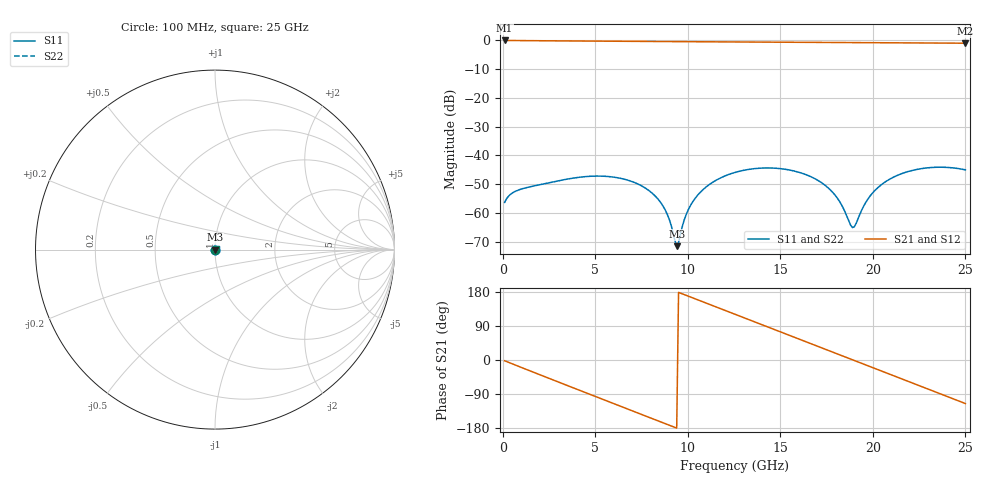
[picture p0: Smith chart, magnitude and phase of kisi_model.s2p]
! kisi T_ts6_ms_10: fast channel model (formula impedances, via model), up to 25 GHz
# Hz S RI R 50
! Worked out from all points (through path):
!   250 points, 100 MHz to 25 GHz, reference 50 ohm
!   highest |S21| = -0.02 dB at 100 MHz (marker M1); lowest = -1.0 dB at 25 GHz (marker M2)
!   group delay of S21, straight-line fit = 52.7 ps
!   lowest |S11| = -71.5 dB at 9.4 GHz (marker M3), VSWR 1.00, Z = 50 + j0.00872 ohm
!   |S11| at or under -10 dB: start of sweep to end of sweep
!   |S22| runs from -71.5 to -44.1 dB; largest |S21 - S12| = 0
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1e8  0.00149 0.00035  0.9973 -0.0352  0.9973 -0.0352  0.00149 0.00035
7e8  0.00226 0.000817  0.9652 -0.2367  0.9652 -0.2367  0.00226 0.000817
2.4e9  0.00311 0.00111  0.6772 -0.7142  0.6772 -0.7142  0.00311 0.00111
4.3e9  0.00418 0.000727  0.1217 -0.9672  0.1217 -0.9672  0.00418 0.000727
6.2e9  0.00401 -0.000881  -0.4682 -0.845  -0.4682 -0.845  0.00401 -0.000881
7.5e9  0.00257 -0.00149  -0.7737 -0.5689  -0.7737 -0.5689  0.00257 -0.00149
8.4e9  0.00131 -0.00113  -0.903 -0.3154  -0.903 -0.3154  0.00131 -0.00113
8.9e9  0.000703 -0.000615  -0.9405 -0.162  -0.9405 -0.162  0.000703 -0.000615
9.4e9  0.000251 8.72e-05  -0.9523 -0.00488  -0.9523 -0.00488  0.000251 8.72e-05
9.9e9  1.55e-05 0.00092  -0.9381 0.1516  -0.9381 0.1516  1.55e-05 0.00092
1.05e10  6.97e-05 0.00199  -0.8875 0.3326  -0.8875 0.3326  6.97e-05 0.00199
1.14e10  0.000847 0.00341  -0.7482 0.5759  -0.7482 0.5759  0.000847 0.00341
1.26e10  0.0028 0.0043  -0.4654 0.816  -0.4654 0.816  0.0028 0.0043
1.36e10  0.0045 0.00383  -0.1749 0.919  -0.1749 0.919  0.0045 0.00383
1.46e10  0.00554 0.00242  0.1319 0.9222  0.1319 0.9222  0.00554 0.00242
1.67e10  0.00414 -0.000724  0.6849 0.6198  0.6849 0.6198  0.00414 -0.000724
1.8e10  0.0018 -0.000786  0.8761 0.2772  0.8761 0.2772  0.0018 -0.000786
1.89e10  0.000488 0.000272  0.9156 0.00853  0.9156 0.00853  0.000488 0.000272
1.98e10  -5.51e-05 0.00188  0.8748 -0.259  0.8748 -0.259  -5.51e-05 0.00188
2.09e10  0.000555 0.00382  0.7226 -0.5505  0.7226 -0.5505  0.000555 0.00382
2.3e10  0.00398 0.00466  0.2019 -0.8781  0.2019 -0.8781  0.00398 0.00466
2.5e10  0.00536 0.00172  -0.3769 -0.8108  -0.3769 -0.8108  0.00536 0.00172
